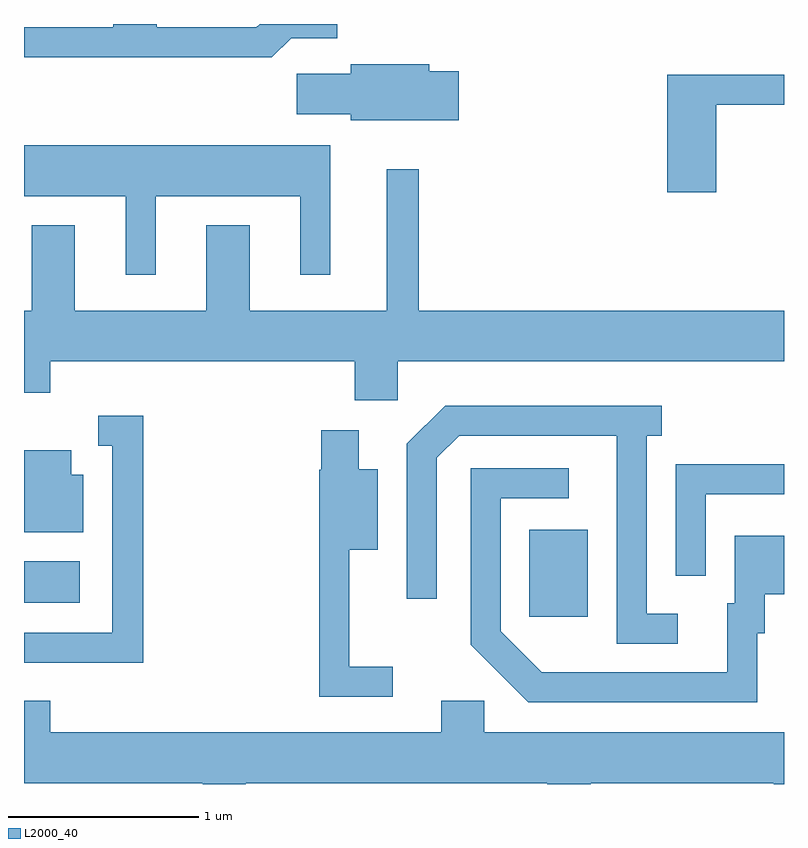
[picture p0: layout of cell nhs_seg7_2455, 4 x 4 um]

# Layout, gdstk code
import gdstk
lib = gdstk.Library(unit=1e-6, precision=1e-09)
def R(c, l, rs):  # rectangles x0, y0, x1, y1
    for r in rs: c.add(gdstk.rectangle(r[:2], r[2:], *l))
def P(c, l, *ps):  # polygons
    for p in ps: c.add(gdstk.Polygon(p, *l))
L2000_40 = (2000, 40)

nhs_seg7_2455 = lib.new_cell('nhs_seg7_2455')
R(nhs_seg7_2455, L2000_40, [(262.271,1775.131,262.579,1775.589), (259.611,1775.206,259.904,1775.424)])
P(nhs_seg7_2455, L2000_40, [(261.017,1778.176),(261.259,1778.176),(261.259,1778.252),(260.852,1778.252),(260.834,1778.234),(260.309,1778.234),(260.309,1778.252),(260.081,1778.252),(260.081,1778.234),(259.611,1778.234),(259.611,1778.076),(260.916,1778.076)],
  [(261.899,1778.004),(261.744,1778.004),(261.744,1778.039),(261.331,1778.039),(261.331,1777.989),(261.046,1777.989),(261.046,1777.776),(261.331,1777.776),(261.331,1777.746),(261.899,1777.746)],
  [(263.254,1777.826),(263.611,1777.826),(263.611,1777.984),(262.996,1777.984),(262.996,1777.366),(263.254,1777.366)],
  [(260.304,1777.346),(261.066,1777.346),(261.066,1776.933),(261.224,1776.933),(261.224,1777.614),(259.611,1777.614),(259.611,1777.346),(260.146,1777.346),(260.146,1776.933),(260.304,1776.933)],
  [(261.579,1776.476),(263.611,1776.476),(263.611,1776.744),(261.689,1776.744),(261.689,1777.488),(261.521,1777.488),(261.521,1776.744),(260.799,1776.744),(260.799,1777.194),(260.571,1777.194),(260.571,1776.744),(259.879,1776.744),(259.879,1777.194),(259.651,1777.194),(259.651,1776.744),(259.611,1776.744),(259.611,1776.311),(259.749,1776.311),(259.749,1776.476),(261.351,1776.476),(261.351,1776.271),(261.579,1776.271)],
  [(263.053,1775.149),(262.889,1775.149),(262.889,1776.086),(262.968,1776.086),(262.968,1776.244),(261.829,1776.244),(261.626,1776.042),(261.626,1775.228),(261.784,1775.228),(261.784,1775.969),(261.902,1776.086),(262.731,1776.086),(262.731,1774.991),(263.053,1774.991)],
  [(260.239,1776.189),(260.003,1776.189),(260.003,1776.031),(260.076,1776.031),(260.076,1775.049),(259.611,1775.049),(259.611,1774.891),(260.239,1774.891)],
  [(261.553,1774.869),(261.324,1774.869),(261.324,1775.486),(261.474,1775.486),(261.474,1775.909),(261.374,1775.909),(261.374,1776.114),(261.176,1776.114),(261.176,1775.905),(261.166,1775.905),(261.166,1774.711),(261.553,1774.711)],
  [(259.924,1775.879),(259.859,1775.879),(259.859,1776.009),(259.611,1776.009),(259.611,1775.576),(259.924,1775.576)],
  [(263.199,1775.776),(263.611,1775.776),(263.611,1775.934),(263.041,1775.934),(263.041,1775.348),(263.199,1775.348)],
  [(263.469,1775.046),(263.509,1775.046),(263.509,1775.251),(263.611,1775.251),(263.611,1775.559),(263.351,1775.559),(263.351,1775.204),(263.311,1775.204),(263.311,1774.839),(262.337,1774.839),(262.119,1775.057),(262.119,1775.756),(262.478,1775.756),(262.478,1775.914),(261.961,1775.914),(261.961,1774.984),(262.264,1774.681),(263.469,1774.681)],
  [(260.779,1774.256),(262.366,1774.256),(262.366,1774.252),(262.594,1774.252),(262.594,1774.256),(263.556,1774.256),(263.556,1774.252),(263.611,1774.252),(263.611,1774.524),(262.034,1774.524),(262.034,1774.689),(261.806,1774.689),(261.806,1774.524),(259.749,1774.524),(259.749,1774.689),(259.611,1774.689),(259.611,1774.256),(260.551,1774.256),(260.551,1774.252),(260.779,1774.252)])

lib.write_gds('nhs_seg7_2455.gds')
